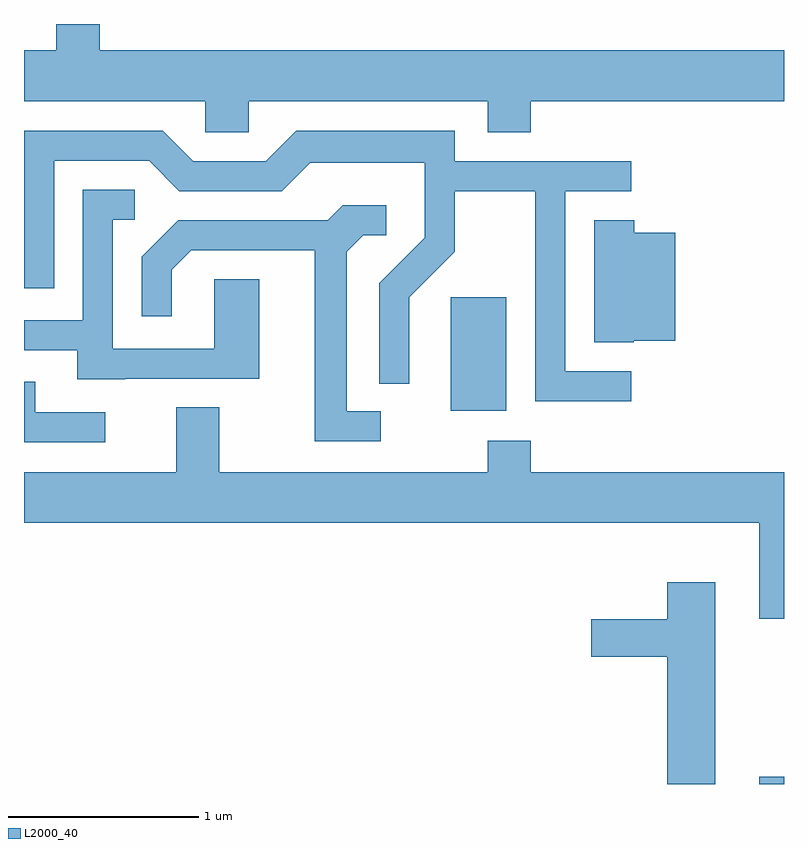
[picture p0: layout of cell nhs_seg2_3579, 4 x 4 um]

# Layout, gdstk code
import gdstk
lib = gdstk.Library(unit=1e-6, precision=1e-09)
def R(c, l, rs):  # rectangles x0, y0, x1, y1
    for r in rs: c.add(gdstk.rectangle(r[:2], r[2:], *l))
def P(c, l, *ps):  # polygons
    for p in ps: c.add(gdstk.Polygon(p, *l))
L2000_40 = (2000, 40)

nhs_seg2_3579 = lib.new_cell('nhs_seg2_3579')
R(nhs_seg2_3579, L2000_40, [(293.481,1075.802,293.611,1075.839), (291.856,1077.766,292.149,1078.364)])
P(nhs_seg2_3579, L2000_40, [(290.794,1079.396),(292.051,1079.396),(292.051,1079.231),(292.279,1079.231),(292.279,1079.396),(293.611,1079.396),(293.611,1079.664),(290.009,1079.664),(290.009,1079.802),(289.781,1079.802),(289.781,1079.664),(289.611,1079.664),(289.611,1079.396),(290.566,1079.396),(290.566,1079.231),(290.794,1079.231)],
  [(292.808,1077.974),(292.459,1077.974),(292.459,1078.921),(292.808,1078.921),(292.808,1079.079),(291.879,1079.079),(291.879,1079.239),(291.044,1079.239),(290.884,1079.079),(290.502,1079.079),(290.342,1079.239),(289.611,1079.239),(289.611,1078.411),(289.769,1078.411),(289.769,1079.081),(290.269,1079.081),(290.429,1078.921),(290.967,1078.921),(291.117,1079.071),(291.721,1079.071),(291.721,1078.677),(291.481,1078.437),(291.481,1077.908),(291.639,1077.908),(291.639,1078.364),(291.879,1078.604),(291.879,1078.921),(292.301,1078.921),(292.301,1077.816),(292.808,1077.816)],
  [(290.145,1077.936),(290.849,1077.936),(290.849,1078.459),(290.611,1078.459),(290.611,1078.094),(290.079,1078.094),(290.079,1078.771),(290.193,1078.771),(290.193,1078.929),(289.921,1078.929),(289.921,1078.244),(289.611,1078.244),(289.611,1078.086),(289.891,1078.086),(289.891,1077.931),(290.145,1077.931)],
  [(291.488,1077.764),(291.309,1077.764),(291.309,1078.604),(291.397,1078.691),(291.518,1078.691),(291.518,1078.849),(291.289,1078.849),(291.209,1078.769),(290.424,1078.769),(290.231,1078.577),(290.231,1078.263),(290.389,1078.263),(290.389,1078.509),(290.492,1078.611),(291.141,1078.611),(291.141,1077.606),(291.488,1077.606)],
  [(292.82,1078.136),(293.039,1078.136),(293.039,1078.704),(292.824,1078.704),(292.824,1078.769),(292.611,1078.769),(292.611,1078.126),(292.82,1078.126)],
  [(290.038,1077.759),(289.669,1077.759),(289.669,1077.919),(289.611,1077.919),(289.611,1077.601),(290.038,1077.601)],
  [(293.611,1077.444),(292.279,1077.444),(292.279,1077.609),(292.051,1077.609),(292.051,1077.444),(290.639,1077.444),(290.639,1077.784),(290.411,1077.784),(290.411,1077.444),(289.611,1077.444),(289.611,1077.176),(293.481,1077.176),(293.481,1076.671),(293.611,1076.671)],
  [(293.249,1076.864),(292.996,1076.864),(292.996,1076.669),(292.596,1076.669),(292.596,1076.471),(292.996,1076.471),(292.996,1075.802),(293.249,1075.802)])

lib.write_gds('nhs_seg2_3579.gds')
